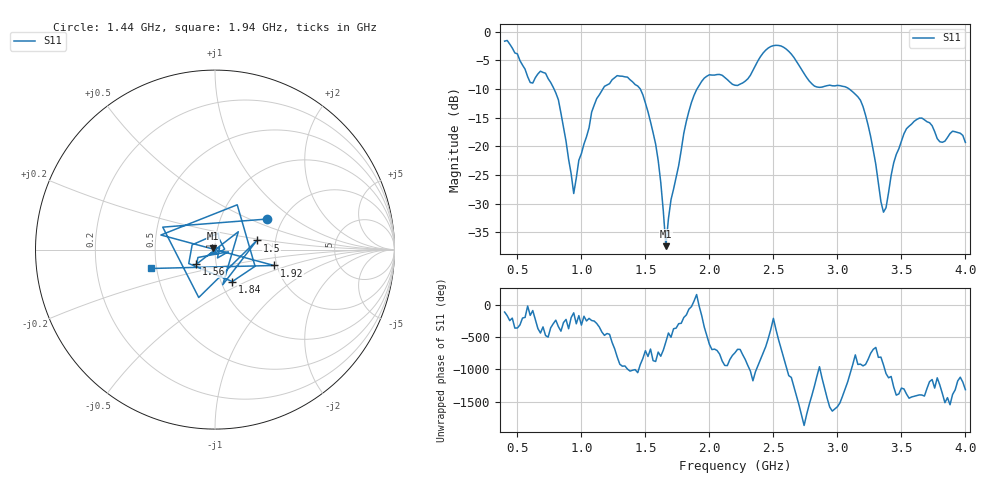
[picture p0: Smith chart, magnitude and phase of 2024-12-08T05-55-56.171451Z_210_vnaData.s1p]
!Created with skrf (http://scikit-rf.org).
# Hz S RI R 50.0
!freq ReS11 ImS11
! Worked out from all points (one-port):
!   181 points, 400 MHz to 4 GHz, reference 50 ohm
!   lowest |S11| = -37.4 dB at 1.66 GHz (marker M1), VSWR 1.03, Z = 48.8 + j0.658 ohm
!   |S11| at or under -10 dB: 786.1 MHz to 1.168 GHz (381.7 MHz wide, 39.1 % of centre); 1.46 GHz to 1.903 GHz (442.7 MHz wide, 26.3 % of centre); 3.092 GHz to end of sweep
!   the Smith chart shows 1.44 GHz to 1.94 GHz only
!   S11 on the Smith chart (normalised r, x): 1.44 GHz: 1.66, +0.64; 1.5 GHz: 1.60, +0.17; 1.56 GHz: 0.80, -0.13; 1.84 GHz: 1.13, -0.42; 1.92 GHz: 1.93, -0.39; 1.94 GHz: 0.47, -0.11
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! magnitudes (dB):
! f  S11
! 400 MHz  -1.6
! 600 MHz  -8.9
! 720 MHz  -7.3
! 820 MHz  -11.9
! 860 MHz  -16.7
! 940 MHz  -28.2
! 1.12 GHz  -11.7
! 1.3 GHz  -7.7
! 1.44 GHz  -9.5
! 1.5 GHz  -12.4
! 1.56 GHz  -17.6
! 1.62 GHz  -26.3
! 1.66 GHz  -37.4
! 1.7 GHz  -29.3
! 1.76 GHz  -23.4
! 1.84 GHz  -13.9
! 1.92 GHz  -9.4
! 1.94 GHz  -8.7
! 2.2 GHz  -9.3
! 2.48 GHz  -2.6
! 2.66 GHz  -4.5
! 2.82 GHz  -9.5
! 3.1 GHz  -10.1
! 3.22 GHz  -14.6
! 3.36 GHz  -31.5
! 3.44 GHz  -22.9
! 3.56 GHz  -16.5
! 4 GHz  -19.3
